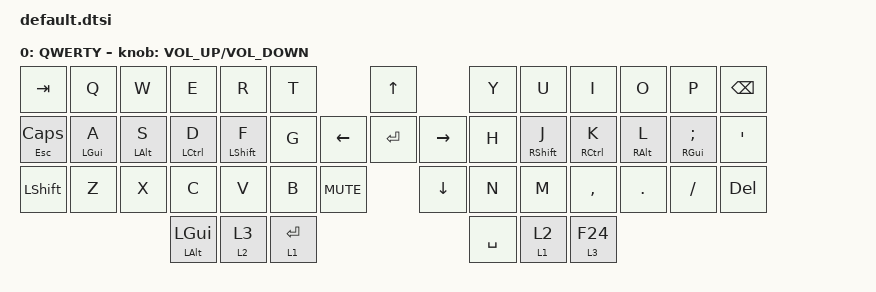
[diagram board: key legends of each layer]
/ {
    behaviors {
        hml: home_row_mod_left {
            compatible = "zmk,behavior-hold-tap";
            #binding-cells = <2>;
            flavor = "balanced";
            require-prior-idle-ms = <150>;
            tapping-term-ms = <150>;
            quick-tap-ms = <250>;
            bindings = <&kp>, <&kp>;
            hold-trigger-key-positions = <7 8 9 10 11 12
                                          22 23 24 25 26 27
                                          36 37 38 39 40 41>;
            hold-trigger-on-release;
        };
        hmr: home_row_mod_right {
            compatible = "zmk,behavior-hold-tap";
            #binding-cells = <2>;
            flavor = "balanced";
            require-prior-idle-ms = <150>;
            tapping-term-ms = <150>;
            quick-tap-ms = <250>;
            bindings = <&kp>, <&kp>;
            hold-trigger-key-positions = <0 1 2 3 4 5
                                          13 14 15 16 17 18
                                          28 29 30 31 32 33>;
            hold-trigger-on-release;
        };
        ld: layer_dance {
            compatible = "zmk,behavior-hold-tap";
            #binding-cells = <2>;
            tapping-term-ms = <200>;
            bindings = <&mo>, <&sl>;
        };
    };
};

/ {
    keymap {
        compatible = "zmk,keymap";

        default_layer {
            display-name = "QWERTY";
            bindings = <
&kp TAB         &kp Q        &kp W        &kp E            &kp R         &kp T                               &kp UP                &kp Y        &kp U         &kp I         &kp O        &kp P           &kp BSPC
&mt ESC CAPS    &hml LGUI A  &hml LALT S  &hml LCTRL D     &hml LSHFT F  &kp G                     &kp LEFT  &kp ENTER  &kp RIGHT  &kp H        &hmr RSHFT J  &hmr RCTRL K  &hmr RALT L  &hmr RGUI SEMI  &kp SQT
&kp LSHFT       &kp Z        &kp X        &kp C            &kp V         &kp B        &kp C_MUTE             &kp DOWN              &kp N        &kp M         &kp COMMA     &kp DOT      &kp FSLH        &kp DEL
                                          &mt LALT LGUI    &ld 2 3       &lt 1 ENTER                                               &kp SPACE    &ld 1 2       &lt 3 F24
            >;
            sensor-bindings = <&inc_dec_kp C_VOLUME_UP C_VOLUME_DOWN>;
        };
    };
};
